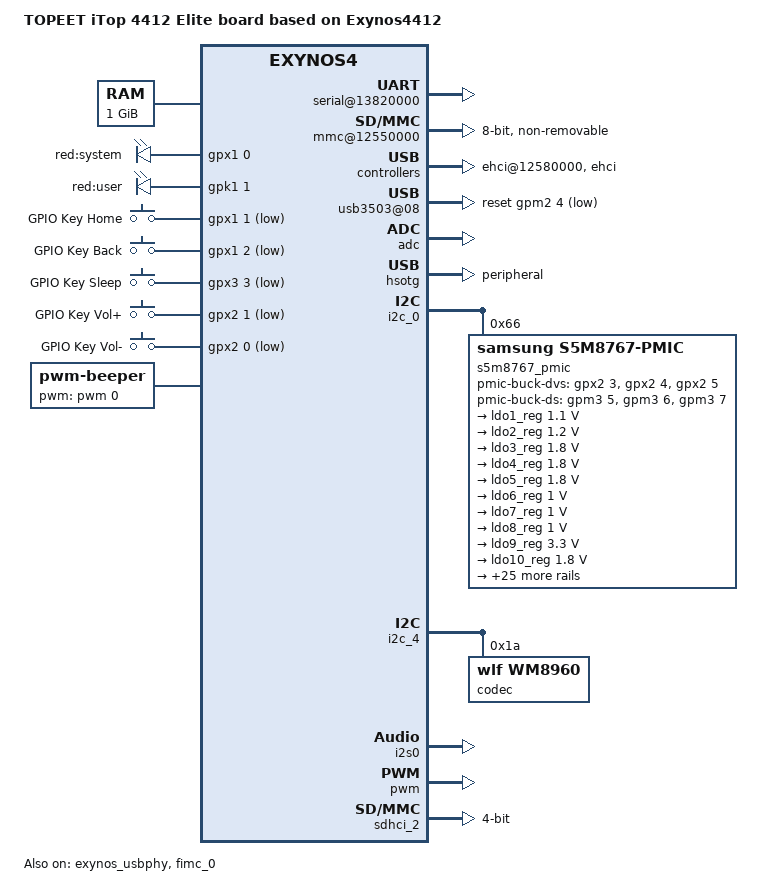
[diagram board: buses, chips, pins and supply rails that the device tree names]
/*
 * TOPEET's Exynos4412 based itop board device tree source
 *
 * Copyright (c) 2016 SUMOMO Computer Association
 *			https://www.sumomo.mobi
 *			Randy Li <ayaka@soulik.info>
 *
 * Device tree source file for TOPEET iTop Exynos 4412 core board
 * which is based on Samsung's Exynos4412 SoC.
 *
 * This program is free software; you can redistribute it and/or modify
 * it under the terms of the GNU General Public License version 2 as
 * published by the Free Software Foundation.
 */

/dts-v1/;
#include <dt-bindings/pwm/pwm.h>
#include "exynos4412.dtsi"
#include <dt-bindings/sound/samsung-i2s.h>
#include <dt-bindings/gpio/gpio.h>
#include <dt-bindings/input/input.h>
#include "exynos-mfc-reserved-memory.dtsi"
#include "exynos4412-itop-scp-core.dtsi"


#include <dt-bindings/gpio/gpio.h>
#include <dt-bindings/input/input.h>
/ {
	model = "TOPEET iTop 4412 Elite board based on Exynos4412";
	compatible = "topeet,itop4412-elite", "samsung,exynos4412", "samsung,exynos4";

	chosen {
		bootargs = "root=/dev/mmcblk0p2 rw rootfstype=ext4 rootdelay=1 rootwait";
		stdout-path = "serial2:115200n8";
	};

	memory {
                reg = <0x40000000 0x40000000>;
        };

	leds {
		compatible = "gpio-leds";

		led2 {
			label = "red:system";
			gpios = <&gpx1 0 GPIO_ACTIVE_HIGH>;
			default-state = "off";
			linux,default-trigger = "heartbeat";
		};

		led3 {
			label = "red:user";
			gpios = <&gpk1 1 GPIO_ACTIVE_HIGH>;
			default-state = "off";
		};
	};

	gpio-keys {
		compatible = "gpio-keys";

		home {
			label = "GPIO Key Home";
			linux,code = <KEY_HOME>;
			gpios = <&gpx1 1 GPIO_ACTIVE_LOW>;
		};

		back {
			label = "GPIO Key Back";
			linux,code = <KEY_BACK>;
			gpios = <&gpx1 2 GPIO_ACTIVE_LOW>;
		};

		sleep {
			label = "GPIO Key Sleep";
			linux,code = <KEY_POWER>;
			gpios = <&gpx3 3 GPIO_ACTIVE_LOW>;
		};

		vol-up {
			label = "GPIO Key Vol+";
			linux,code = <KEY_UP>;
			gpios = <&gpx2 1 GPIO_ACTIVE_LOW>;
		};

		vol-down {
			label = "GPIO Key Vol-";
			linux,code = <KEY_DOWN>;
			gpios = <&gpx2 0 GPIO_ACTIVE_LOW>;
		};
	};

	sound {
		compatible = "simple-audio-card";
		simple-audio-card,name = "wm-sound";

		simple-audio-card,format = "i2s";
		simple-audio-card,bitclock-master = <&link0_codec>;
		simple-audio-card,frame-master = <&link0_codec>;

		simple-audio-card,widgets =
			"Microphone", "Mic Jack",
			"Line", "Line In",
			"Line", "Line Out",
			"Speaker", "Speaker",
			"Headphone", "Headphone Jack";
		simple-audio-card,routing =
			"Headphone Jack", "HP_L",
			"Headphone Jack", "HP_R",
			"Speaker", "SPK_LP",
			"Speaker", "SPK_LN",
			"Speaker", "SPK_RP",
			"Speaker", "SPK_RN",
			"LINPUT1", "Mic Jack",
			"LINPUT3", "Mic Jack",
			"RINPUT1", "Mic Jack",
			"RINPUT2", "Mic Jack";

		simple-audio-card,cpu {
			sound-dai = <&i2s0 0>;
		};

		link0_codec: simple-audio-card,codec {
			sound-dai = <&codec>;
			clocks = <&i2s0 CLK_I2S_CDCLK>;
			system-clock-frequency = <11289600>;
		};
	};
	
	beep {
		compatible = "pwm-beeper";
		pwms = <&pwm 0 4000000 PWM_POLARITY_INVERTED>;
	};

	camera: camera {
		pinctrl-0 = <&cam_port_a_clk_active>;
		pinctrl-names = "default";
		status = "okay";
		assigned-clocks = <&clock CLK_MOUT_CAM0>;
		assigned-clock-parents = <&clock CLK_XUSBXTI>;
	};
	serial@13800000 {
                status = "diable";
        };

        serial@13810000 {
                status = "disable";
        };

        serial@13820000 {
                status = "okay";
        };

        serial@13830000 {
                status = "disable";
        };

	fixed-rate-clocks {
                xxti {
                        compatible = "samsung,clock-xxti";
                        clock-frequency = <0>;
                };

                xusbxti {
                        compatible = "samsung,clock-xusbxti";
                        clock-frequency = <24000000>;
                };
        };

	mmc@12550000 {
                num-slots = <1>;
                broken-cd;
                non-removable;
                card-detect-delay = <200>;
                clock-frequency = <400000000>;
                samsung,dw-mshc-ciu-div = <0>;
                samsung,dw-mshc-sdr-timing = <2 3>;
                samsung,dw-mshc-ddr-timing = <1 2>;
                pinctrl-0 = <&sd4_clk &sd4_cmd &sd4_bus4 &sd4_bus8>;
                pinctrl-names = "default";
                status = "okay";
                bus-width = <8>;
                cap-mmc-highspeed;
        };
	usbphy:usbphy@125B0000{
        	#address-cells=<1>;
        	#size-cells=<1>;
                compatible="samsung,exynos4x12-usb2phy";
                reg=<0x125B0000 0x100>;
                ranges;

                clocks=<&clock 2>,<&clock 305>;
                clock-names="xusbxti","otg";

                usbphy-sys{
                        reg=<0x10020704 0x8 0x1001021c 0x4>;
                };
    	};
       ehci@12580000{
            	status="okay";
            	usbphy=<&usbphy>;
       };
       usb3503@08{
            	compatible="smsc,usb3503";
            	reg=<0x08 0x4>;
            	connect-gpios=<&gpm3 3 1>;
          	intn-gpios=<&gpx2 3 1>;
            	reset-gpios=<&gpm2 4 1>;
            	initial-mode=<1>;
       };
};

&adc {
	/*vdd-supply = <&ldo3_reg>;*/
	status = "okay";
};

&clock_audss {
	assigned-clocks = <&clock_audss EXYNOS_MOUT_AUDSS>,
			<&clock_audss EXYNOS_MOUT_I2S>,
			<&clock_audss EXYNOS_DOUT_SRP>,
			<&clock_audss EXYNOS_DOUT_AUD_BUS>;
	assigned-clock-parents = <&clock CLK_FOUT_EPLL>,
			<&clock_audss EXYNOS_MOUT_AUDSS>;
	assigned-clock-rates = <0>, <0>, <112896000>, <11289600>;
};

&ehci {
	status = "okay";
	/* In order to reset USB ethernet */
	samsung,vbus-gpio = <&gpc0 1 GPIO_ACTIVE_HIGH>;

	port@0 {
		status = "okay";
	};

	port@2 {
		status = "okay";
	};
};

&cpu0 {
	cpu0-supply = <&buck2_reg>;
};

&exynos_usbphy {
	status = "okay";
};

&fimc_0 {
	status = "okay";
	assigned-clocks = <&clock CLK_MOUT_FIMC0>,
			<&clock CLK_SCLK_FIMC0>;
	assigned-clock-parents = <&clock CLK_MOUT_MPLL_USER_T>;
	assigned-clock-rates = <0>, <176000000>;
};

&hsotg {
	dr_mode = "peripheral";
	status = "okay";
};


&i2c_0 {
	#address-cells = <1>;
	#size-cells = <0>;
	samsung,i2c-sda-delay = <100>;
	samsung,i2c-max-bus-freq = <20000>;
	pinctrl-0 = <&i2c0_bus>;
	pinctrl-names = "default";
	status = "okay";

	s5m8767_pmic@66 {
		compatible = "samsung,s5m8767-pmic";
		reg = <0x66>;

		s5m8767,pmic-buck-default-dvs-idx = <3>;

		s5m8767,pmic-buck-dvs-gpios = <&gpx2 3 GPIO_ACTIVE_HIGH>,
						 <&gpx2 4 GPIO_ACTIVE_HIGH>,
						 <&gpx2 5 GPIO_ACTIVE_HIGH>;

		s5m8767,pmic-buck-ds-gpios = <&gpm3 5 GPIO_ACTIVE_HIGH>,
						<&gpm3 6 GPIO_ACTIVE_HIGH>,
						<&gpm3 7 GPIO_ACTIVE_HIGH>;

		s5m8767,pmic-buck2-dvs-voltage = <1250000>, <1200000>,
						 <1200000>, <1200000>,
						 <1200000>, <1200000>,
						 <1200000>, <1200000>;

		s5m8767,pmic-buck3-dvs-voltage = <1100000>, <1100000>,
						 <1100000>, <1100000>,
						 <1100000>, <1100000>,
						 <1100000>, <1100000>;

		s5m8767,pmic-buck4-dvs-voltage = <1200000>, <1200000>,
						 <1200000>, <1200000>,
						 <1200000>, <1200000>,
						 <1200000>, <1200000>;

		regulators {
			ldo1_reg: LDO1 {
				regulator-name = "VDD_ALIVE";
				regulator-min-microvolt = <1100000>;
				regulator-max-microvolt = <1100000>;
				regulator-always-on;
				regulator-boot-on;
				op_mode = <1>; /* Normal Mode */
			};

			ldo2_reg: LDO2 {
				regulator-name = "VDDQ_M12";
				regulator-min-microvolt = <1200000>;
				regulator-max-microvolt = <1200000>;
				regulator-always-on;
				op_mode = <1>; /* Normal Mode */
			};

			ldo3_reg: LDO3 {
				regulator-name = "VDDIOAP_18";
				regulator-min-microvolt = <1800000>;
				regulator-max-microvolt = <1800000>;
				regulator-always-on;
				op_mode = <1>; /* Normal Mode */
			};

			ldo4_reg: LDO4 {
				regulator-name = "VDDQ_PRE";
				regulator-min-microvolt = <1800000>;
				regulator-max-microvolt = <1800000>;
				regulator-always-on;
				op_mode = <1>; /* Normal Mode */
			};

			ldo5_reg: LDO5 {
				regulator-name = "VDD18_2M";
				regulator-min-microvolt = <1800000>;
				regulator-max-microvolt = <1800000>;
				regulator-always-on;
				op_mode = <1>; /* Normal Mode */
			};

			ldo6_reg: LDO6 {
				regulator-name = "VDD10_MPLL";
				regulator-min-microvolt = <1000000>;
				regulator-max-microvolt = <1000000>;
				regulator-always-on;
				op_mode = <1>; /* Normal Mode */
			};

			ldo7_reg: LDO7 {
				regulator-name = "VDD10_XPLL";
				regulator-min-microvolt = <1000000>;
				regulator-max-microvolt = <1000000>;
				regulator-always-on;
				op_mode = <1>; /* Normal Mode */
			};

			ldo8_reg: LDO8 {
				regulator-name = "VDD10_MIPI";
				regulator-min-microvolt = <1000000>;
				regulator-max-microvolt = <1000000>;
				regulator-always-on;
				op_mode = <1>; /* Normal Mode */
			};

			ldo9_reg: LDO9 {
				regulator-name = "VDD33_LCD";
				regulator-min-microvolt = <3300000>;
				regulator-max-microvolt = <3300000>;
				regulator-always-on;
				op_mode = <1>; /* Normal Mode */
			};

			ldo10_reg: LDO10 {
				regulator-name = "VDD18_MIPI";
				regulator-min-microvolt = <1800000>;
				regulator-max-microvolt = <1800000>;
				regulator-always-on;
				op_mode = <1>; /* Normal Mode */
			};

			ldo11_reg: LDO11 {
				regulator-name = "VDD18_ABB1";
				regulator-min-microvolt = <1800000>;
				regulator-max-microvolt = <1800000>;
				regulator-always-on;
				op_mode = <1>; /* Normal Mode */
			};

			ldo12_reg: LDO12 {
				regulator-name = "VDD33_UOTG";
				regulator-min-microvolt = <3300000>;
				regulator-max-microvolt = <3300000>;
				regulator-always-on;
				op_mode = <1>; /* Normal Mode */
			};

			ldo13_reg: LDO13 {
				regulator-name = "VDDIOPERI_18";
				regulator-min-microvolt = <1800000>;
				regulator-max-microvolt = <1800000>;
				regulator-always-on;
				op_mode = <1>; /* Normal Mode */
			};

			ldo14_reg: LDO14 {
				regulator-name = "VDD18_ABB02";
				regulator-min-microvolt = <1800000>;
				regulator-max-microvolt = <1800000>;
				regulator-always-on;
				op_mode = <1>; /* Normal Mode */
			};

			ldo15_reg: LDO15 {
				regulator-name = "VDD10_USH";
				regulator-min-microvolt = <1000000>;
				regulator-max-microvolt = <1000000>;
				regulator-always-on;
				op_mode = <1>; /* Normal Mode */
			};

			ldo16_reg: LDO16 {
				regulator-name = "VDD18_HSIC";
				regulator-min-microvolt = <1800000>;
				regulator-max-microvolt = <1800000>;
				regulator-always-on;
				op_mode = <1>; /* Normal Mode */
			};

			ldo17_reg: LDO17 {
				regulator-name = "VDDIOAP_MMC012_28";
				regulator-min-microvolt = <2800000>;
				regulator-max-microvolt = <2800000>;
				regulator-always-on;
				op_mode = <1>; /* Normal Mode */
			};

			ldo18_reg: LDO18 {
				regulator-name = "VDDIOPERI_28";
				regulator-min-microvolt = <2800000>;
				regulator-max-microvolt = <2800000>;
				regulator-always-on;
				op_mode = <1>; /* Normal Mode */
			};

			ldo19_reg: LDO19 {
				regulator-name = "DVDD25";
				regulator-min-microvolt = <2500000>;
				regulator-max-microvolt = <2500000>;
				regulator-always-on;
				op_mode = <1>; /* Normal Mode */
			};

			ldo20_reg: LDO20 {
				regulator-name = "VDD28_CAM";
				regulator-min-microvolt = <2800000>;
				regulator-max-microvolt = <2800000>;
				regulator-always-on;
				op_mode = <1>; /* Normal Mode */
			};

			ldo21_reg: LDO21 {
				regulator-name = "VDD28_AF";
				regulator-min-microvolt = <2800000>;
				regulator-max-microvolt = <2800000>;
				regulator-always-on;
				op_mode = <1>; /* Normal Mode */
			};

			ldo22_reg: LDO22 {
				regulator-name = "VDDA28_2M";
				regulator-min-microvolt = <2800000>;
				regulator-max-microvolt = <2800000>;
				regulator-always-on;
				op_mode = <1>; /* Normal Mode */
			};

			ldo23_reg: LDO23 {
				regulator-name = "VDD28_TF";
				regulator-min-microvolt = <2800000>;
				regulator-max-microvolt = <2800000>;
				regulator-always-on;
				op_mode = <1>; /* Normal Mode */
			};

			ldo24_reg: LDO24 {
				regulator-name = "VDD33_A31";
				regulator-min-microvolt = <3300000>;
				regulator-max-microvolt = <3300000>;
				regulator-always-on;
				op_mode = <1>; /* Normal Mode */
			};

			ldo25_reg: LDO25 {
				regulator-name = "VDD18_CAM";
				regulator-min-microvolt = <1800000>;
				regulator-max-microvolt = <1800000>;
				regulator-always-on;
				op_mode = <1>; /* Normal Mode */
			};

			ldo26_reg: LDO26 {
				regulator-name = "VDD18_A31";
				regulator-min-microvolt = <1800000>;
				regulator-max-microvolt = <1800000>;
				regulator-always-on;
				op_mode = <1>; /* Normal Mode */
			};

			ldo27_reg: LDO27 {
				regulator-name = "GPS_1V8";
				regulator-min-microvolt = <1800000>;
				regulator-max-microvolt = <1800000>;
				regulator-always-on;
				op_mode = <1>; /* Normal Mode */
			};

			ldo28_reg: LDO28 {
				regulator-name = "DVDD12";
				regulator-min-microvolt = <1200000>;
				regulator-max-microvolt = <1200000>;
				regulator-always-on;
				op_mode = <1>; /* Normal Mode */
			};

			buck1_reg: BUCK1 {
				regulator-name = "vdd_mif";
				regulator-min-microvolt = <950000>;
				regulator-max-microvolt	= <1100000>;
				regulator-always-on;
				regulator-boot-on;
				op_mode = <1>; /* Normal Mode */
			};

			buck2_reg: BUCK2 {
				regulator-name = "vdd_arm";
				regulator-min-microvolt = <900000>;
				regulator-max-microvolt	= <1350000>;
				regulator-always-on;
				regulator-boot-on;
				op_mode = <1>; /* Normal Mode */
			};

			buck3_reg: BUCK3 {
				regulator-name = "vdd_int";
				regulator-min-microvolt = <900000>;
				regulator-max-microvolt	= <1200000>;
				regulator-always-on;
				regulator-boot-on;
				op_mode = <1>; /* Normal Mode */
			};

			buck4_reg: BUCK4 {
				regulator-name = "vdd_g3d";
				regulator-min-microvolt = <750000>;
				regulator-max-microvolt	= <1500000>;
				regulator-always-on;
				regulator-boot-on;
				op_mode = <1>; /* Normal Mode */
			};

			buck5_reg: BUCK5 {
				regulator-name = "vdd_m12";
				regulator-min-microvolt = <750000>;
				regulator-max-microvolt	= <1500000>;
				regulator-always-on;
				regulator-boot-on;
				op_mode = <1>; /* Normal Mode */
			};

			buck6_reg: BUCK6 {
				regulator-name = "vdd12_5m";
				regulator-min-microvolt = <750000>;
				regulator-max-microvolt	= <1500000>;
				regulator-always-on;
				regulator-boot-on;
				op_mode = <1>; /* Normal Mode */
			};

			buck9_reg: BUCK9 {
				regulator-name = "vddf28_emmc";
				regulator-min-microvolt = <750000>;
				regulator-max-microvolt	= <3000000>;
				regulator-always-on;
				regulator-boot-on;
				op_mode = <1>; /* Normal Mode */
			};
		};
	};
};

&i2c_4 {
	samsung,i2c-sda-delay = <100>;
	samsung,i2c-slave-addr = <0x10>;
	samsung,i2c-max-bus-freq = <100000>;
	pinctrl-0 = <&i2c4_bus>;
	pinctrl-names = "default";
	status = "okay";

	codec: wm8960@1a {
		compatible = "wlf,wm8960";
		reg = <0x1a>;
		clocks = <&pmu_system_controller 0>;
		clock-names = "MCLK1";
		wlf,shared-lrclk;
		#sound-dai-cells = <0>;
	};
};

&i2s0 {
	pinctrl-0 = <&i2s0_bus>;
	pinctrl-names = "default";
	status = "okay";
};

&pinctrl_1 {
	ether-reset {
		samsung,pins = "gpc0-1";
		samsung,pin-function = <EXYNOS_PIN_FUNC_INPUT>;
		samsung,pin-pud = <EXYNOS_PIN_PULL_NONE>;
		samsung,pin-drv = <EXYNOS4_PIN_DRV_LV1>;
	};
};

&pwm {
	status = "okay";
	pinctrl-0 = <&pwm0_out>;
	pinctrl-names = "default";
	samsung,pwm-outputs = <0>;
};

&sdhci_2 {
	bus-width = <4>;
	pinctrl-0 = <&sd2_clk &sd2_cmd &sd2_bus4>;
	pinctrl-names = "default";
	cd-gpio = <&gpx0 7 GPIO_ACTIVE_LOW>;
	cap-sd-highspeed;
	/*vmmc-supply = <&ldo23_reg>;
	vqmmc-supply = <&ldo17_reg>;*/
	status = "okay";
};
